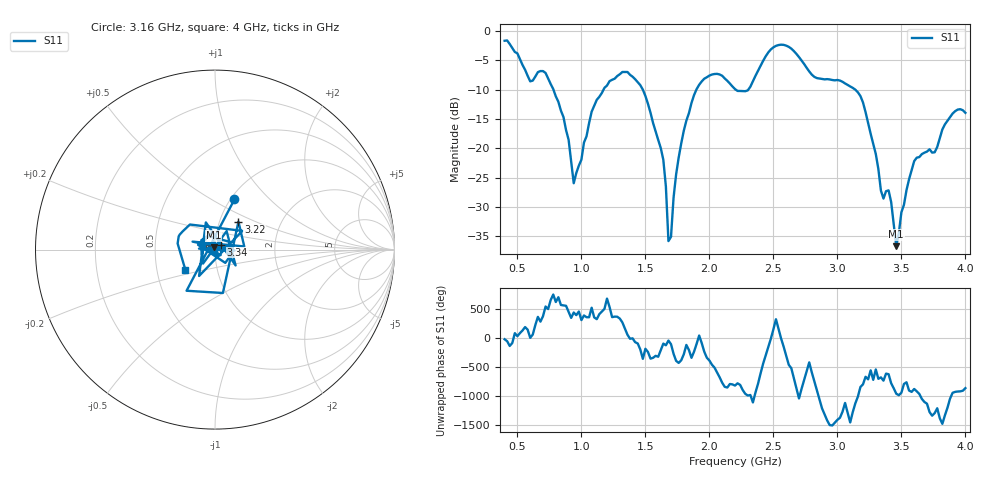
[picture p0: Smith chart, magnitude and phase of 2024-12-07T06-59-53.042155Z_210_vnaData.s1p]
!Created with skrf (http://scikit-rf.org).
# Hz S RI R 50.0
!freq ReS11 ImS11
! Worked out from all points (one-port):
!   181 points, 400 MHz to 4 GHz, reference 50 ohm
!   lowest |S11| = -36.7 dB at 3.46 GHz (marker M1), VSWR 1.03, Z = 49.3 + j1.26 ohm
!   |S11| at or under -10 dB: 781.4 MHz to 1.173 GHz (391.7 MHz wide, 40.1 % of centre); 1.48 GHz to 1.899 GHz (418.8 MHz wide, 24.8 % of centre); 3.139 GHz to end of sweep (the widest 3 of 4)
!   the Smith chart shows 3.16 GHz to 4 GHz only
!   S11 on the Smith chart (normalised r, x): 3.16 GHz: 1.04, +0.64; 3.22 GHz: 1.23, +0.40; 3.34 GHz: 1.07, +0.06; 4 GHz: 0.70, -0.17
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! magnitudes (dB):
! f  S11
! 400 MHz  -1.7
! 600 MHz  -8.6
! 720 MHz  -7.2
! 860 MHz  -14.7
! 940 MHz  -26.0
! 1.08 GHz  -13.8
! 1.3 GHz  -7.4
! 1.52 GHz  -12.4
! 1.64 GHz  -22.0
! 1.66 GHz  -26.5
! 1.68 GHz  -35.8
! 1.7 GHz  -35.1
! 1.76 GHz  -21.6
! 1.94 GHz  -8.6
! 2.2 GHz  -9.9
! 2.3 GHz  -10.1
! 2.5 GHz  -2.8
! 2.66 GHz  -3.4
! 2.82 GHz  -7.8
! 3.1 GHz  -9.5
! 3.16 GHz  -10.5
! 3.22 GHz  -13.8
! 3.34 GHz  -27.2
! 3.4 GHz  -27.2
! 3.46 GHz  -36.7
! 3.56 GHz  -25.3
! 3.9 GHz  -14.1
! 4 GHz  -14.0
